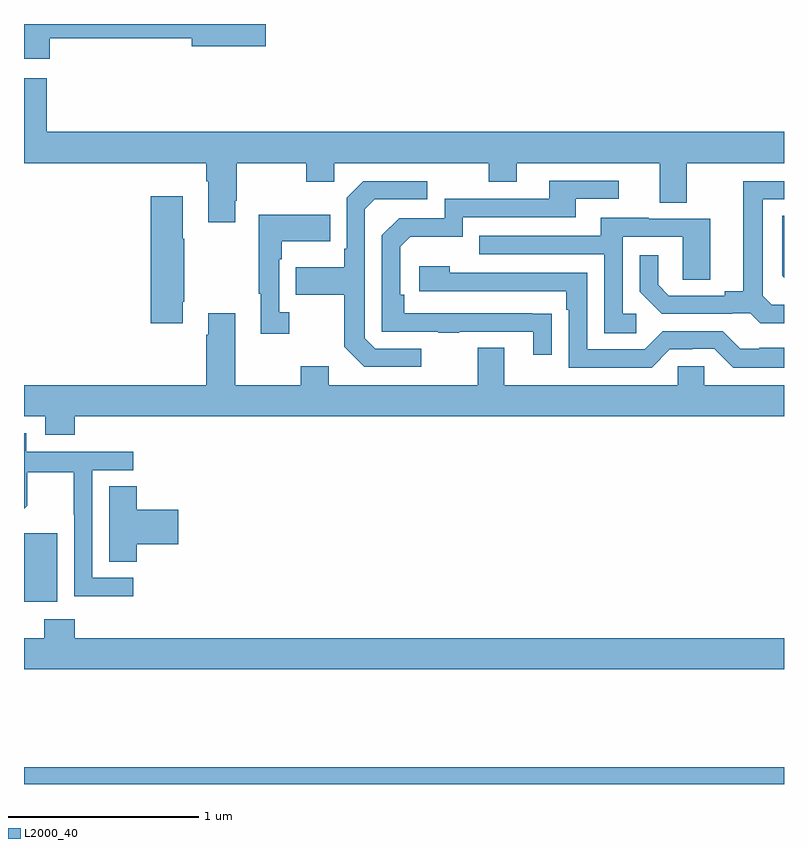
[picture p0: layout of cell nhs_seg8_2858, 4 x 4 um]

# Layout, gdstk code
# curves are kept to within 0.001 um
import gdstk
lib = gdstk.Library(unit=1e-6, precision=1e-09)
def R(c, l, rs):  # rectangles x0, y0, x1, y1
    for r in rs: c.add(gdstk.rectangle(r[:2], r[2:], *l))
def P(c, l, *ps):  # polygons
    for p in ps: c.add(gdstk.Polygon(p, *l))
L2000_40 = (2000, 40)

nhs_seg8_2858 = lib.new_cell('nhs_seg8_2858')
R(nhs_seg8_2858, L2000_40, [(291,1111.9,295,1111.988), (291,1112.858,291.175,1113.219)])
P(nhs_seg8_2858, L2000_40, [(291.136,1115.824),(291.884,1115.824),(291.884,1115.782),(292.273,1115.782),(292.273,1115.9),(291,1115.9),(291,1115.717),(291.136,1115.717)],
  [(292.111,1114.969),(292.119,1114.969),(292.119,1115.168),(292.486,1115.168),(292.486,1115.069),(292.632,1115.069),(292.632,1115.168),(293.446,1115.168),(293.446,1115.069),(293.593,1115.069),(293.593,1115.168),(294.347,1115.168),(294.347,1114.96),(294.487,1114.96),(294.487,1115.168),(295,1115.168),(295,1115.332),(291.121,1115.332),(291.121,1115.614),(291,1115.614),(291,1115.168),(291.959,1115.168),(291.959,1115.072),(291.971,1115.072),(291.971,1114.857),(292.111,1114.857)],
  [(293.777,1114.376),(293,1114.377),(293,1114.474),(292.98,1114.474),(292.98,1114.728),(293.033,1114.781),(293.31,1114.781),(293.31,1114.884),(293.905,1114.884),(293.905,1114.98),(294.13,1114.98),(294.13,1115.076),(293.765,1115.076),(293.765,1114.98),(293.214,1114.98),(293.214,1114.878),(292.974,1114.878),(292.884,1114.788),(292.884,1114.281),(293.179,1114.281),(293.179,1114.276),(293.291,1114.276),(293.291,1114.281),(293.681,1114.281),(293.681,1114.158),(293.777,1114.158)],
  [(295,1114.422),(294.936,1114.422),(294.889,1114.469),(294.889,1114.977),(295,1114.977),(295,1115.073),(294.785,1115.073),(294.785,1114.493),(294.689,1114.493),(294.689,1114.47),(294.394,1114.47),(294.337,1114.527),(294.337,1114.684),(294.24,1114.684),(294.24,1114.49),(294.356,1114.374),(294.728,1114.374),(294.728,1114.377),(294.822,1114.377),(294.874,1114.325),(295,1114.325)],
  [(293.092,1114.191),(292.848,1114.191),(292.794,1114.245),(292.794,1114.926),(292.845,1114.977),(293.122,1114.977),(293.122,1115.073),(292.785,1115.073),(292.698,1114.986),(292.698,1114.717),(292.686,1114.717),(292.686,1114.621),(292.429,1114.621),(292.429,1114.474),(292.686,1114.474),(292.686,1114.201),(292.791,1114.095),(293.092,1114.095)],
  [(291.835,1114.438),(291.843,1114.438),(291.843,1114.769),(291.835,1114.769),(291.835,1114.993),(291.668,1114.993),(291.668,1114.326),(291.835,1114.326)],
  [(292.396,1114.382),(292.344,1114.382),(292.344,1114.661),(292.357,1114.661),(292.357,1114.757),(292.613,1114.757),(292.613,1114.897),(292.236,1114.897),(292.236,1114.481),(292.247,1114.481),(292.247,1114.269),(292.396,1114.269)],
  [(295,1114.892),(294.99,1114.892),(294.99,1114.574),(295,1114.564)],
  [(294.223,1114.374),(294.15,1114.374),(294.15,1114.779),(294.468,1114.779),(294.468,1114.555),(294.613,1114.555),(294.613,1114.875),(294.289,1114.875),(294.289,1114.879),(294.035,1114.879),(294.035,1114.785),(293.395,1114.785),(293.395,1114.689),(294.054,1114.689),(294.054,1114.273),(294.223,1114.273)],
  [(295,1114.195),(294.871,1114.195),(294.871,1114.191),(294.771,1114.191),(294.678,1114.284),(294.363,1114.284),(294.267,1114.188),(293.964,1114.188),(293.964,1114.59),(293.24,1114.59),(293.24,1114.624),(293.079,1114.624),(293.079,1114.494),(293.855,1114.494),(293.855,1114.397),(293.868,1114.397),(293.868,1114.092),(294.303,1114.092),(294.399,1114.188),(294.518,1114.188),(294.518,1114.191),(294.633,1114.191),(294.733,1114.091),(295,1114.091)],
  [(291.266,1113.836),(295,1113.836),(295,1114),(294.579,1114),(294.579,1114.098),(294.441,1114.098),(294.441,1114),(293.527,1114),(293.527,1114.195),(293.387,1114.195),(293.387,1114),(292.603,1114),(292.603,1114.099),(292.456,1114.099),(292.456,1114),(292.111,1114),(292.111,1114.378),(291.971,1114.378),(291.971,1114.265),(291.959,1114.265),(291.959,1114),(291,1114),(291,1113.836),(291.113,1113.836),(291.113,1113.737),(291.266,1113.737)],
  [(291.574,1112.985),(291.36,1112.985),(291.36,1113.552),(291.574,1113.552),(291.574,1113.648),(291.012,1113.648),(291.012,1113.745),(291,1113.745),(291,1113.348),(291.017,1113.365),(291.017,1113.54),(291.262,1113.54),(291.262,1113.316),(291.264,1113.316),(291.264,1112.887),(291.574,1112.887)],
  [(291.593,1113.161),(291.811,1113.161),(291.811,1113.344),(291.593,1113.344),(291.593,1113.467),(291.449,1113.467),(291.449,1113.07),(291.593,1113.07)],
  [(295,1112.668),(291.266,1112.668),(291.266,1112.767),(291.106,1112.767),(291.106,1112.668),(291,1112.668),(291,1112.504),(295,1112.504)])

lib.write_gds('nhs_seg8_2858.gds')
